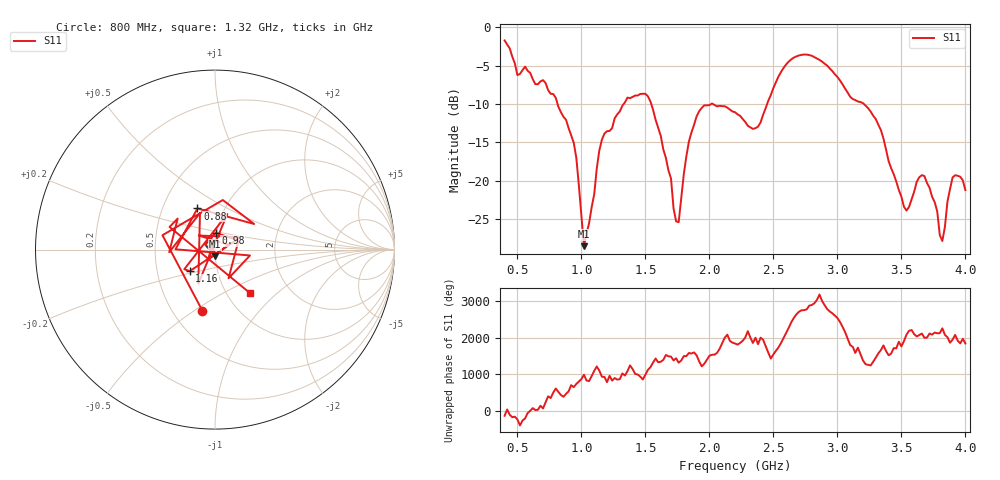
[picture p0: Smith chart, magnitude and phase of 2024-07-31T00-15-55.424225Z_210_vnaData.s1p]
!Created with skrf (http://scikit-rf.org).
# Hz S RI R 50.0
!freq ReS11 ImS11
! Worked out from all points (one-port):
!   181 points, 400 MHz to 4 GHz, reference 50 ohm
!   lowest |S11| = -28.6 dB at 1.02 GHz (marker M1), VSWR 1.08, Z = 50 - j3.73 ohm
!   |S11| at or under -10 dB: 813.8 MHz to 1.33 GHz (516.5 MHz wide, 48.2 % of centre); 1.546 GHz to 2.014 GHz (468 MHz wide, 26.3 % of centre); 3.207 GHz to end of sweep (the widest 3 of 4)
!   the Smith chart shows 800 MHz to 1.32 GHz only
!   S11 on the Smith chart (normalised r, x): 800 MHz: 0.70, -0.54; 880 MHz: 0.75, +0.36; 980 MHz: 0.99, +0.19; 1.16 GHz: 0.73, -0.18; 1.32 GHz: 1.28, -0.68
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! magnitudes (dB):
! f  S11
! 400 MHz  -1.7
! 500 MHz  -6.2
! 560 MHz  -5.1
! 800 MHz  -9.2
! 860 MHz  -11.7
! 880 MHz  -12.1
! 940 MHz  -15.1
! 980 MHz  -20.6
! 1.02 GHz  -28.6
! 1.16 GHz  -14.7
! 1.3 GHz  -11.0
! 1.32 GHz  -10.2
! 1.54 GHz  -9.7
! 1.76 GHz  -25.4
! 1.84 GHz  -14.9
! 1.92 GHz  -10.9
! 2.2 GHz  -11.1
! 2.38 GHz  -13.0
! 2.66 GHz  -3.9
! 2.88 GHz  -4.5
! 3.1 GHz  -9.1
! 3.3 GHz  -12.0
! 3.52 GHz  -23.4
! 3.56 GHz  -23.4
! 3.68 GHz  -19.4
! 3.82 GHz  -27.9
! 3.9 GHz  -19.6
! 4 GHz  -21.2
